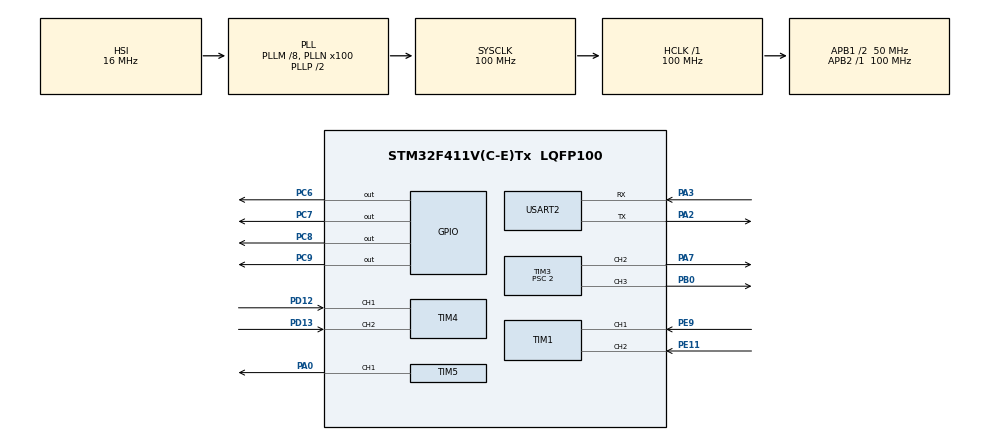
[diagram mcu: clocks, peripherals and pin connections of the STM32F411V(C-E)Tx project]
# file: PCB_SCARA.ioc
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Mcu.Family=STM32F4
Mcu.Name=STM32F411V(C-E)Tx
Mcu.Package=LQFP100
NVIC.PriorityGroup=NVIC_PRIORITYGROUP_4
NVIC.USART2_IRQn=true\:0\:0\:false\:false\:true\:true\:true\:true
PA0-WKUP.Signal=S_TIM5_CH1
PA13.Mode=Trace_Asynchronous_SW
PA13.Signal=SYS_JTMS-SWDIO
PA14.Mode=Trace_Asynchronous_SW
PA14.Signal=SYS_JTCK-SWCLK
PA2.Mode=Asynchronous
PA2.Signal=USART2_TX
PA3.Mode=Asynchronous
PA3.Signal=USART2_RX
PA7.Signal=S_TIM3_CH2
PB0.Signal=S_TIM3_CH3
PB3.Mode=Trace_Asynchronous_SW
PB3.Signal=SYS_JTDO-SWO
PC6.GPIO_Speed=GPIO_SPEED_FREQ_VERY_HIGH
PC6.Signal=GPIO_Output
PC7.GPIO_Speed=GPIO_SPEED_FREQ_VERY_HIGH
PC7.Signal=GPIO_Output
PC8.GPIO_Speed=GPIO_SPEED_FREQ_VERY_HIGH
PC8.Signal=GPIO_Output
PC9.GPIO_Speed=GPIO_SPEED_FREQ_VERY_HIGH
PC9.Signal=GPIO_Output
PD12.Signal=S_TIM4_CH1
PD13.Signal=S_TIM4_CH2
PE11.Signal=S_TIM1_CH2
PE9.Signal=S_TIM1_CH1
ProjectManager.HeapSize=0x200
ProjectManager.StackSize=0x400
ProjectManager.TargetToolchain=STM32CubeIDE
RCC.48MHZClocksFreq_Value=50000000
RCC.AHBFreq_Value=100000000
RCC.APB1CLKDivider=RCC_HCLK_DIV2
RCC.APB1Freq_Value=50000000
RCC.APB1TimFreq_Value=100000000
RCC.APB2Freq_Value=100000000
RCC.APB2TimFreq_Value=100000000
RCC.CortexFreq_Value=100000000
RCC.HCLKFreq_Value=100000000
RCC.HSE_VALUE=25000000
RCC.HSI_VALUE=16000000
RCC.LSE_VALUE=32768
RCC.PLLM=8
RCC.PLLN=100
RCC.SYSCLKFreq_VALUE=100000000
RCC.SYSCLKSource=RCC_SYSCLKSOURCE_PLLCLK
RCC.VCOOutputFreq_Value=200000000
SH.S_TIM1_CH1.0=TIM1_CH1,Encoder_Interface
SH.S_TIM1_CH2.0=TIM1_CH2,Encoder_Interface
SH.S_TIM3_CH2.0=TIM3_CH2,PWM Generation2 CH2
SH.S_TIM3_CH3.0=TIM3_CH3,PWM Generation3 CH3
SH.S_TIM4_CH1.0=TIM4_CH1,Encoder_Interface
SH.S_TIM4_CH2.0=TIM4_CH2,Encoder_Interface
SH.S_TIM5_CH1.0=TIM5_CH1,PWM Generation1 CH1
TIM1.EncoderMode=TIM_ENCODERMODE_TI12
TIM1.IC1Filter=15
TIM1.IC2Filter=15
TIM3.AutoReloadPreload=TIM_AUTORELOAD_PRELOAD_DISABLE
TIM3.Channel-PWM\ Generation2\ CH2=TIM_CHANNEL_2
TIM3.Channel-PWM\ Generation3\ CH3=TIM_CHANNEL_3
TIM3.Period=254
TIM3.Prescaler=2
TIM4.EncoderMode=TIM_ENCODERMODE_TI12
TIM4.IC1Filter=15
TIM4.IC2Filter=15
TIM5.AutoReloadPreload=TIM_AUTORELOAD_PRELOAD_ENABLE
TIM5.Channel-PWM\ Generation1\ CH1=TIM_CHANNEL_1
TIM5.Period=59999
TIM5.Prescaler=33
USART2.VirtualMode=VM_ASYNC
board=custom

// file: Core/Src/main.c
/* USER CODE BEGIN Header */
/**
  ******************************************************************************
  * @file           : main.c
  * @brief          : Main program body
  ******************************************************************************
  * @attention
  *
  * Copyright (c) 2023 STMicroelectronics.
  * All rights reserved.
  *
  * This software is licensed under terms that can be found in the LICENSE file
  * in the root directory of this software component.
  * If no LICENSE file comes with this software, it is provided AS-IS.
  *
  ******************************************************************************
  */
/* USER CODE END Header */
#include "main.h"

/* USER CODE BEGIN Includes */
#include "pid.h"
#include "dc_driver.h"
#include "stdio.h"
#include "string.h"
#include "stdint.h"
#include "stdlib.h"
/* USER CODE END Includes */

/* USER CODE BEGIN PTD */
typedef enum { false, true } bool;
/* USER CODE END PTD */

/* USER CODE BEGIN PD */
#define ENC_ZERO 32768
/* USER CODE END PD */

TIM_HandleTypeDef htim1;
TIM_HandleTypeDef htim3;
TIM_HandleTypeDef htim4;
TIM_HandleTypeDef htim5;

UART_HandleTypeDef huart2;

/* USER CODE BEGIN PV */

uint16_t ENCODER_POS, ENCODER_POS1;
bool flagaMOVE = false;
float u, u1;

//zmienne do obsługi komunikacji
volatile char rxBuf[50]; // Holding buffer with space for terminating NUL
volatile uint8_t cnt = 0;
volatile bool flaga = false;
volatile uint8_t str;

//volatile uint8_t str;
uint16_t rPosition,rPosition1, rPosition2;
char buffer[24];

//zmienne do obsługi parsowania
int Data[3];
char id = 'a';
volatile bool flagaParse = false;
float check;
/* USER CODE END PV */

void SystemClock_Config(void);
static void MX_GPIO_Init(void);
static void MX_TIM1_Init(void);
static void MX_TIM4_Init(void);
static void MX_TIM3_Init(void);
static void MX_USART2_UART_Init(void);
static void MX_TIM5_Init(void);
/* USER CODE BEGIN PFP */
void parse_ReceivedData() {

	int x = 0;
	char delim[] = " ";
	char *ptr = strtok(rxBuf, delim);
	id = *ptr;

	while(ptr != NULL) {
		ptr = strtok(NULL, delim);
		Data[x++] = atoi(ptr);
	}

	for (int i = 0; i < 50; i++)
		rxBuf[i] = (char) 0;
}

void sendEncoderData(uint16_t enc,uint16_t enc1, uint16_t enc2)
{

	if(enc!=rPosition || enc1!=rPosition1 || enc2 != rPosition2)
	{
		sprintf(buffer, "E %i %i %i 55\r\n",enc,enc1,enc2);
		HAL_UART_Transmit(&huart2, buffer, strlen(buffer), 100);
		rPosition = enc;
		rPosition1 = enc1;
		rPosition2 = enc2;
	}

}

//obsluga timera, do zwrotu uplywu czasu
static inline uint32_t LL_SYSTICK_IsActiveCounterFlag(void)
{
  return ((SysTick->CTRL & SysTick_CTRL_COUNTFLAG_Msk) == (SysTick_CTRL_COUNTFLAG_Msk));
}

uint32_t getCurrentMicros(void)
{
  /* Ensure COUNTFLAG is reset by reading SysTick control and status register */
  LL_SYSTICK_IsActiveCounterFlag();
  uint32_t m = HAL_GetTick();
  const uint32_t tms = SysTick->LOAD + 1;
  __IO uint32_t u = tms - SysTick->VAL;
  if (LL_SYSTICK_IsActiveCounterFlag()) {
    m = HAL_GetTick();
    u = tms - SysTick->VAL;
  }
  return (m * 1000 + (u * 1000) / tms);
}
/* USER CODE END PFP */

int main(void)
{

  /* MCU Configuration--------------------------------------------------------*/

  /* Reset of all peripherals, Initializes the Flash interface and the Systick. */
  HAL_Init();

  /* Configure the system clock */
  SystemClock_Config();

  /* Initialize all configured peripherals */
  MX_GPIO_Init();
  MX_TIM1_Init();
  MX_TIM4_Init();
  MX_TIM3_Init();
  MX_USART2_UART_Init();
  MX_TIM5_Init();
  /* USER CODE BEGIN 2 */
  moveStopJoint1();
  moveStopJoint2();

  HAL_UART_Receive_IT(&huart2, &str, 1);

  HAL_TIM_PWM_Start(&htim3, TIM_CHANNEL_3);
  HAL_TIM_PWM_Start(&htim3, TIM_CHANNEL_2);
  HAL_TIM_PWM_Start(&htim5, TIM_CHANNEL_1);

  __HAL_TIM_SET_COMPARE(&htim3,TIM_CHANNEL_3,0);
  __HAL_TIM_SET_COMPARE(&htim3,TIM_CHANNEL_2,0);
  __HAL_TIM_SET_COMPARE(&htim5, TIM_CHANNEL_1,7600);

  HAL_TIM_Encoder_Start_IT(&htim4, TIM_CHANNEL_ALL);
  HAL_TIM_Encoder_Start_IT(&htim1, TIM_CHANNEL_ALL);

  htim4.Instance->CNT = ENC_ZERO;//0;
  htim1.Instance->CNT = ENC_ZERO;//0;

  ENCODER_POS = TIM4->CNT;
  ENCODER_POS1 = TIM1->CNT;
  pid_init1(50.0,0.05,10.0);//(60.0,0.009,40.0);//(1.1,0.015,0.0005)25.0 (60.0,0.009,40.0)
  pid_init2(40.0,0.05,5.0);
  /* USER CODE END 2 */

  /* Infinite loop */
  /* USER CODE BEGIN WHILE */
  while (1)
  {
	  check = getCurrentMicros();
	  if(flagaMOVE == false)
	  {
	  	SysTick->VAL = 0;
	  	ENCODER_POS = TIM4->CNT;
	  	ENCODER_POS1 = TIM1->CNT;
	  	u = 0;
	  	u1 = 0;
	  }

	  if(flagaParse == true)
	  {
		  parse_ReceivedData();
		  switch (id) {
			case 'I':
				flagaMOVE = true;
				__HAL_TIM_SET_COMPARE(&htim5, TIM_CHANNEL_1,Data[2]);
				break;

			case 'K':
				flagaMOVE = true;
				__HAL_TIM_SET_COMPARE(&htim5, TIM_CHANNEL_1,Data[2]);
				break;

			case 'L':
				flagaMOVE = true;
				__HAL_TIM_SET_COMPARE(&htim5, TIM_CHANNEL_1,Data[2]);
				break;

			case 'M':
				if(Data[0] == 1)
				{
					if(Data[1] == 1) setMotorSpeed1(&htim3, 70);

					if(Data[1] == 2) setMotorSpeed1(&htim3, -70);
				}

				else if(Data[0] == 2)
				{
					if(Data[1] == 1) setMotorSpeed2(&htim3, 70);

					if(Data[1] == 2) setMotorSpeed2(&htim3, -70);
				}
				break;
			case 'S':
				moveStopJoint1();
				moveStopJoint2();
				break;

			case 'E':
				htim4.Instance->CNT = ENC_ZERO; htim1.Instance->CNT = ENC_ZERO;
				ENCODER_POS = TIM4->CNT; ENCODER_POS1 = TIM1->CNT; Data[2] = 7600;
				break;

			case 'X':
				set_pid1(Data[0], Data[1], Data[2]);
				break;

			case 'Y':
				set_pid2(Data[0], Data[1], Data[2]);
				break;

			default:
				flagaParse = false;
				break;
		  }

	  }

	  if(flagaMOVE == true)
	  {
		  u = pid_calculate1(ENCODER_POS+Data[0], (TIM4->CNT), getCurrentMicros());
		  u1 = pid_calculate2(ENCODER_POS1+Data[1], (TIM1->CNT), getCurrentMicros());

		  if(u < 50.0 && u1 < 50.0 && abs((ENCODER_POS+Data[0]-(TIM4->CNT)))<36.0 && abs((ENCODER_POS1+Data[1]-(TIM1->CNT)))<36.0) //36 bylo
		  {
			  u = 0.0;
			  u1 = 0.0;
			  setMotorSpeed1(&htim3,(int)u);
			  setMotorSpeed2(&htim3, (int)u1);

			  if(id == 'K')
			  {
				__HAL_TIM_SET_COMPARE(&htim5, TIM_CHANNEL_1,1600);
					 //wlaczamy elektromagnes
					 //HAL_GPIO_WritePin(GPIOD, GPIO_PIN_15, 0);
			  }

			  if(id == 'L')
			  {
				__HAL_TIM_SET_COMPARE(&htim5, TIM_CHANNEL_1,1600);
					 //wylaczamy elektromagnes
					 //HAL_GPIO_WritePin(GPIOD, GPIO_PIN_15, 1);
			  }

			  flagaMOVE = false;
			  HAL_Delay(1000);
			  __HAL_TIM_SET_COMPARE(&htim5, TIM_CHANNEL_1,7600);
			  HAL_Delay(1000);
			  sprintf(buffer, "P 55\r\n");

			  HAL_UART_Transmit(&huart2, buffer, strlen(buffer), 100);
		  }

		  setMotorSpeed1(&htim3,(int)u);
		  setMotorSpeed2(&htim3, (int)u1);
	  }

	  sendEncoderData(TIM4->CNT, TIM1->CNT,Data[2]);

    /* USER CODE END WHILE */

  }
}

void SystemClock_Config(void)
{
  RCC_OscInitTypeDef RCC_OscInitStruct = {0};
  RCC_ClkInitTypeDef RCC_ClkInitStruct = {0};

  /** Configure the main internal regulator output voltage
  */
  __HAL_RCC_PWR_CLK_ENABLE();
  __HAL_PWR_VOLTAGESCALING_CONFIG(PWR_REGULATOR_VOLTAGE_SCALE1);

  /** Initializes the RCC Oscillators according to the specified parameters
  * in the RCC_OscInitTypeDef structure.
  */
  RCC_OscInitStruct.OscillatorType = RCC_OSCILLATORTYPE_HSI;
  RCC_OscInitStruct.HSIState = RCC_HSI_ON;
  RCC_OscInitStruct.HSICalibrationValue = RCC_HSICALIBRATION_DEFAULT;
  RCC_OscInitStruct.PLL.PLLState = RCC_PLL_ON;
  RCC_OscInitStruct.PLL.PLLSource = RCC_PLLSOURCE_HSI;
  RCC_OscInitStruct.PLL.PLLM = 8;
  RCC_OscInitStruct.PLL.PLLN = 100;
  RCC_OscInitStruct.PLL.PLLP = RCC_PLLP_DIV2;
  RCC_OscInitStruct.PLL.PLLQ = 4;
  if (HAL_RCC_OscConfig(&RCC_OscInitStruct) != HAL_OK)
  {
    Error_Handler();
  }

  /** Initializes the CPU, AHB and APB buses clocks
  */
  RCC_ClkInitStruct.ClockType = RCC_CLOCKTYPE_HCLK|RCC_CLOCKTYPE_SYSCLK
                              |RCC_CLOCKTYPE_PCLK1|RCC_CLOCKTYPE_PCLK2;
  RCC_ClkInitStruct.SYSCLKSource = RCC_SYSCLKSOURCE_PLLCLK;
  RCC_ClkInitStruct.AHBCLKDivider = RCC_SYSCLK_DIV1;
  RCC_ClkInitStruct.APB1CLKDivider = RCC_HCLK_DIV2;
  RCC_ClkInitStruct.APB2CLKDivider = RCC_HCLK_DIV1;

  if (HAL_RCC_ClockConfig(&RCC_ClkInitStruct, FLASH_LATENCY_3) != HAL_OK)
  {
    Error_Handler();
  }
}

static void MX_TIM1_Init(void)
{

  TIM_Encoder_InitTypeDef sConfig = {0};
  TIM_MasterConfigTypeDef sMasterConfig = {0};

  htim1.Instance = TIM1;
  htim1.Init.Prescaler = 0;
  htim1.Init.CounterMode = TIM_COUNTERMODE_UP;
  htim1.Init.Period = 65535;
  htim1.Init.ClockDivision = TIM_CLOCKDIVISION_DIV1;
  htim1.Init.RepetitionCounter = 0;
  htim1.Init.AutoReloadPreload = TIM_AUTORELOAD_PRELOAD_DISABLE;
  sConfig.EncoderMode = TIM_ENCODERMODE_TI12;
  sConfig.IC1Polarity = TIM_ICPOLARITY_RISING;
  sConfig.IC1Selection = TIM_ICSELECTION_DIRECTTI;
  sConfig.IC1Prescaler = TIM_ICPSC_DIV1;
  sConfig.IC1Filter = 15;
  sConfig.IC2Polarity = TIM_ICPOLARITY_RISING;
  sConfig.IC2Selection = TIM_ICSELECTION_DIRECTTI;
  sConfig.IC2Prescaler = TIM_ICPSC_DIV1;
  sConfig.IC2Filter = 15;
  if (HAL_TIM_Encoder_Init(&htim1, &sConfig) != HAL_OK)
  {
    Error_Handler();
  }
  sMasterConfig.MasterOutputTrigger = TIM_TRGO_RESET;
  sMasterConfig.MasterSlaveMode = TIM_MASTERSLAVEMODE_DISABLE;
  if (HAL_TIMEx_MasterConfigSynchronization(&htim1, &sMasterConfig) != HAL_OK)
  {
    Error_Handler();
  }

}

static void MX_TIM3_Init(void)
{

  TIM_MasterConfigTypeDef sMasterConfig = {0};
  TIM_OC_InitTypeDef sConfigOC = {0};

  htim3.Instance = TIM3;
  htim3.Init.Prescaler = 2;
  htim3.Init.CounterMode = TIM_COUNTERMODE_UP;
  htim3.Init.Period = 254;
  htim3.Init.ClockDivision = TIM_CLOCKDIVISION_DIV1;
  htim3.Init.AutoReloadPreload = TIM_AUTORELOAD_PRELOAD_DISABLE;
  if (HAL_TIM_PWM_Init(&htim3) != HAL_OK)
  {
    Error_Handler();
  }
  sMasterConfig.MasterOutputTrigger = TIM_TRGO_RESET;
  sMasterConfig.MasterSlaveMode = TIM_MASTERSLAVEMODE_DISABLE;
  if (HAL_TIMEx_MasterConfigSynchronization(&htim3, &sMasterConfig) != HAL_OK)
  {
    Error_Handler();
  }
  sConfigOC.OCMode = TIM_OCMODE_PWM1;
  sConfigOC.Pulse = 0;
  sConfigOC.OCPolarity = TIM_OCPOLARITY_HIGH;
  sConfigOC.OCFastMode = TIM_OCFAST_DISABLE;
  if (HAL_TIM_PWM_ConfigChannel(&htim3, &sConfigOC, TIM_CHANNEL_2) != HAL_OK)
  {
    Error_Handler();
  }
  if (HAL_TIM_PWM_ConfigChannel(&htim3, &sConfigOC, TIM_CHANNEL_3) != HAL_OK)
  {
    Error_Handler();
  }
  HAL_TIM_MspPostInit(&htim3);

}

static void MX_TIM4_Init(void)
{

  TIM_Encoder_InitTypeDef sConfig = {0};
  TIM_MasterConfigTypeDef sMasterConfig = {0};

  htim4.Instance = TIM4;
  htim4.Init.Prescaler = 0;
  htim4.Init.CounterMode = TIM_COUNTERMODE_UP;
  htim4.Init.Period = 65535;
  htim4.Init.ClockDivision = TIM_CLOCKDIVISION_DIV1;
  htim4.Init.AutoReloadPreload = TIM_AUTORELOAD_PRELOAD_DISABLE;
  sConfig.EncoderMode = TIM_ENCODERMODE_TI12;
  sConfig.IC1Polarity = TIM_ICPOLARITY_RISING;
  sConfig.IC1Selection = TIM_ICSELECTION_DIRECTTI;
  sConfig.IC1Prescaler = TIM_ICPSC_DIV1;
  sConfig.IC1Filter = 15;
  sConfig.IC2Polarity = TIM_ICPOLARITY_RISING;
  sConfig.IC2Selection = TIM_ICSELECTION_DIRECTTI;
  sConfig.IC2Prescaler = TIM_ICPSC_DIV1;
  sConfig.IC2Filter = 15;
  if (HAL_TIM_Encoder_Init(&htim4, &sConfig) != HAL_OK)
  {
    Error_Handler();
  }
  sMasterConfig.MasterOutputTrigger = TIM_TRGO_RESET;
  sMasterConfig.MasterSlaveMode = TIM_MASTERSLAVEMODE_DISABLE;
  if (HAL_TIMEx_MasterConfigSynchronization(&htim4, &sMasterConfig) != HAL_OK)
  {
    Error_Handler();
  }

}

static void MX_TIM5_Init(void)
{

  TIM_MasterConfigTypeDef sMasterConfig = {0};
  TIM_OC_InitTypeDef sConfigOC = {0};

  htim5.Instance = TIM5;
  htim5.Init.Prescaler = 33;
  htim5.Init.CounterMode = TIM_COUNTERMODE_UP;
  htim5.Init.Period = 59999;
  htim5.Init.ClockDivision = TIM_CLOCKDIVISION_DIV1;
  htim5.Init.AutoReloadPreload = TIM_AUTORELOAD_PRELOAD_ENABLE;
  if (HAL_TIM_PWM_Init(&htim5) != HAL_OK)
  {
    Error_Handler();
  }
  sMasterConfig.MasterOutputTrigger = TIM_TRGO_RESET;
  sMasterConfig.MasterSlaveMode = TIM_MASTERSLAVEMODE_DISABLE;
  if (HAL_TIMEx_MasterConfigSynchronization(&htim5, &sMasterConfig) != HAL_OK)
  {
    Error_Handler();
  }
  sConfigOC.OCMode = TIM_OCMODE_PWM1;
  sConfigOC.Pulse = 0;
  sConfigOC.OCPolarity = TIM_OCPOLARITY_HIGH;
  sConfigOC.OCFastMode = TIM_OCFAST_DISABLE;
  if (HAL_TIM_PWM_ConfigChannel(&htim5, &sConfigOC, TIM_CHANNEL_1) != HAL_OK)
  {
    Error_Handler();
  }
  HAL_TIM_MspPostInit(&htim5);

}

static void MX_USART2_UART_Init(void)
{

  huart2.Instance = USART2;
  huart2.Init.BaudRate = 115200;
  huart2.Init.WordLength = UART_WORDLENGTH_8B;
  huart2.Init.StopBits = UART_STOPBITS_1;
  huart2.Init.Parity = UART_PARITY_NONE;
  huart2.Init.Mode = UART_MODE_TX_RX;
  huart2.Init.HwFlowCtl = UART_HWCONTROL_NONE;
  huart2.Init.OverSampling = UART_OVERSAMPLING_16;
  if (HAL_UART_Init(&huart2) != HAL_OK)
  {
    Error_Handler();
  }

}

static void MX_GPIO_Init(void)
{
  GPIO_InitTypeDef GPIO_InitStruct = {0};

  /* GPIO Ports Clock Enable */
  __HAL_RCC_GPIOA_CLK_ENABLE();
  __HAL_RCC_GPIOB_CLK_ENABLE();
  __HAL_RCC_GPIOE_CLK_ENABLE();
  __HAL_RCC_GPIOD_CLK_ENABLE();
  __HAL_RCC_GPIOC_CLK_ENABLE();

  /*Configure GPIO pin Output Level */
  HAL_GPIO_WritePin(GPIOC, GPIO_PIN_6|GPIO_PIN_7|GPIO_PIN_8|GPIO_PIN_9, GPIO_PIN_RESET);

  /*Configure GPIO pins : PC6 PC7 PC8 PC9 */
  GPIO_InitStruct.Pin = GPIO_PIN_6|GPIO_PIN_7|GPIO_PIN_8|GPIO_PIN_9;
  GPIO_InitStruct.Mode = GPIO_MODE_OUTPUT_PP;
  GPIO_InitStruct.Pull = GPIO_NOPULL;
  GPIO_InitStruct.Speed = GPIO_SPEED_FREQ_VERY_HIGH;
  HAL_GPIO_Init(GPIOC, &GPIO_InitStruct);

}

/* USER CODE BEGIN 4 */
void HAL_UART_RxCpltCallback(UART_HandleTypeDef *huart)
{
	if(flaga ==true)
		{
		if((str != 'R'))
		{
			rxBuf[cnt] = str;
			cnt++;
		}
		else{
			rxBuf[cnt++] = '\r';
			rxBuf[cnt] = '\n';
			cnt = 0;
			flaga = false;
			flagaMOVE = false;
			flagaParse = true;
		}
		}

	if(str == 'I' || str == 'F' || str == 'S' || str == 'M' || str == 'E' || str == 'K' || str == 'L' || str == 'X' || str == 'Y')
	{
		flaga = true;
		rxBuf[cnt] = str;
		cnt++;
	}

	HAL_UART_Receive_IT(&huart2, &str, 1);
}
/* USER CODE END 4 */

void Error_Handler(void)
{
  __disable_irq();
  while (1)
  {
  }
}
